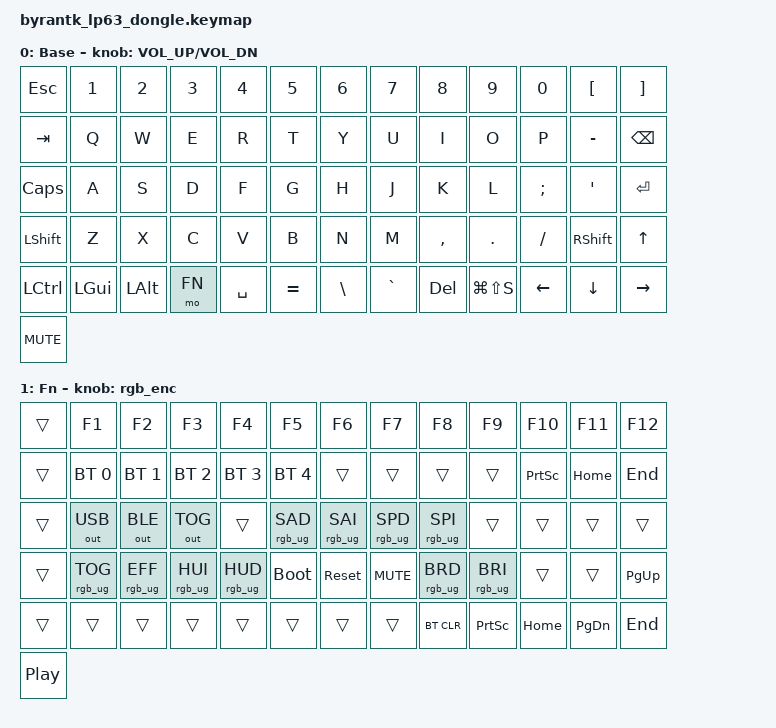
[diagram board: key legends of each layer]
/*
 * ByranTK LP63 — 64-key column-aligned grid (13 x 5, 2U space)
 *
 * Physical layout (keymap order):
 *  Esc   1    2    3    4    5    6    7    8    9    0    -    Bksp
 *  Tab   Q    W    E    R    T    Y    U    I    O    P    [    ]
 *  Caps  A    S    D    F    G    H    J    K    L    ;    '    Enter
 *  Shift Z    X    C    V    B    N    M    ,    .    /    Up   Shift
 *  Ctrl  Win  Alt  Fn  [Space ]  =    \    `    Del  Shot Left Down Right
 *
 * Shot = Win+Shift+S (snip), Fn+Shot = Print Screen.
 * Fn + Esc: battery level on the LED right of Up (1 s on a tap, or while held)
 *   (green > 50 %, yellow 20-50 %, red < 20 %; blinks red when low).
 *
 * Dongle (BLE central) copy of byrantk_lp63.keymap - keep the two files identical.
 * Encoder: volume on Base, underglow brightness while Fn is held.
 * Encoder push: Mute; Fn + push: Play/Pause (key position 66, D18). Fn + M: Mute. Fn + Z: underglow on/off.
 * Fn + G/H: saturation down/up. Fn + J/K: effect speed down/up.
 */

#include <behaviors.dtsi>
#include <dt-bindings/zmk/keys.h>
#include <dt-bindings/zmk/bt.h>
#include <dt-bindings/zmk/outputs.h>
#include <dt-bindings/zmk/rgb.h>

#define BASE 0
#define FN   1

/ {
    behaviors {
        rgb_enc: rgb_encoder {
            compatible = "zmk,behavior-sensor-rotate";
            #sensor-binding-cells = <0>;
            bindings = <&rgb_ug RGB_BRI>, <&rgb_ug RGB_BRD>;
        };
    };

    keymap {
        compatible = "zmk,keymap";

        default_layer {
            display-name = "Base";
            bindings = <
    &kp ESC    &kp N1   &kp N2   &kp N3   &kp N4    &kp N5   &kp N6    &kp N7   &kp N8    &kp N9    &kp N0   &kp LBKT  &kp RBKT
    &kp TAB    &kp Q    &kp W    &kp E    &kp R     &kp T    &kp Y     &kp U    &kp I     &kp O     &kp P    &kp MINUS &kp BSPC
    &kp CAPS   &kp A    &kp S    &kp D    &kp F     &kp G    &kp H     &kp J    &kp K     &kp L     &kp SEMI &kp SQT   &kp RET
    &kp LSHFT  &kp Z    &kp X    &kp C    &kp V     &kp B    &kp N     &kp M    &kp COMMA &kp DOT   &kp FSLH &kp RSHFT &kp UP
    &kp LCTRL  &kp LGUI &kp LALT &mo FN   &kp SPACE          &kp EQUAL &kp BSLH &kp GRAVE &kp DEL   &kp LG(LS(S)) &kp LEFT &kp DOWN  &kp RIGHT
    &kp C_MUTE
            >;
            sensor-bindings = <&inc_dec_kp C_VOL_UP C_VOL_DN>;
        };

        fn_layer {
            display-name = "Fn";
            bindings = <
    &trans      &kp F1          &kp F2          &kp F3          &kp F4          &kp F5       &kp F6       &kp F7  &kp F8            &kp F9            &kp F10    &kp F11   &kp F12
    &trans     &bt BT_SEL 0    &bt BT_SEL 1    &bt BT_SEL 2    &bt BT_SEL 3    &bt BT_SEL 4 &trans       &trans  &trans            &trans            &kp PSCRN  &kp HOME  &kp END
    &trans     &out OUT_USB    &out OUT_BLE    &out OUT_TOG    &trans          &rgb_ug RGB_SAD &rgb_ug RGB_SAI &rgb_ug RGB_SPD &rgb_ug RGB_SPI &trans  &trans     &trans    &trans
    &trans     &rgb_ug RGB_TOG &rgb_ug RGB_EFF &rgb_ug RGB_HUI &rgb_ug RGB_HUD &bootloader  &sys_reset   &kp C_MUTE &rgb_ug RGB_BRD   &rgb_ug RGB_BRI   &trans     &trans    &kp PG_UP
    &trans     &trans          &trans          &trans          &trans                       &trans       &trans  &trans            &bt BT_CLR        &kp PSCRN     &kp HOME   &kp PG_DN &kp END
    &kp C_PP
            >;
            sensor-bindings = <&rgb_enc>;
        };
    };
};
